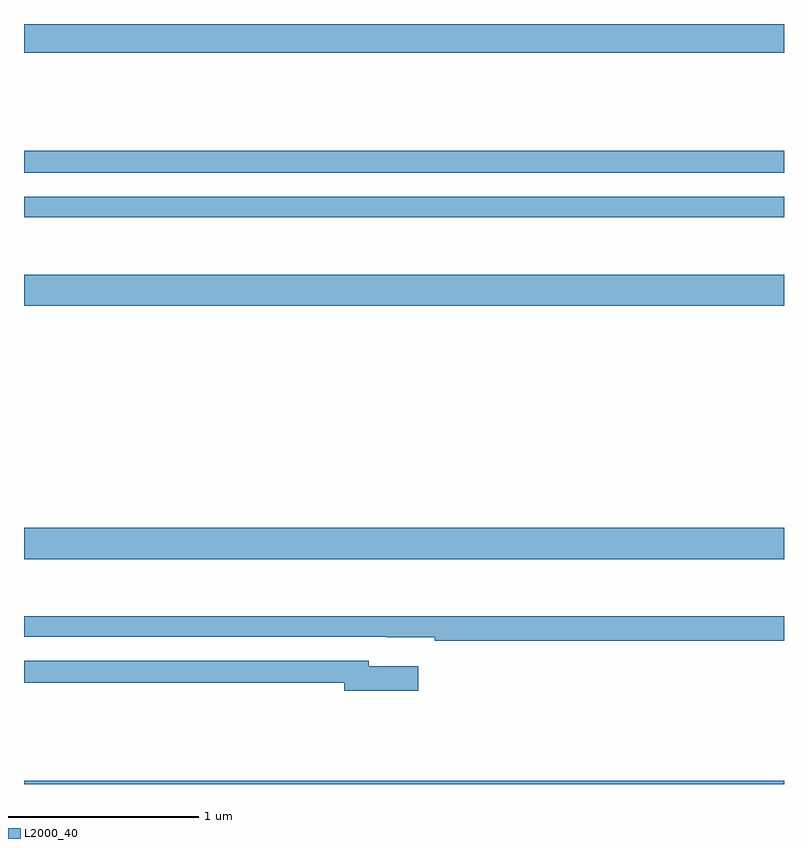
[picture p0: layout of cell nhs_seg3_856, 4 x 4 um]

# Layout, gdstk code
import gdstk
lib = gdstk.Library(unit=1e-6, precision=1e-09)
def R(c, l, rs):  # rectangles x0, y0, x1, y1
    for r in rs: c.add(gdstk.rectangle(r[:2], r[2:], *l))
def P(c, l, *ps):  # polygons
    for p in ps: c.add(gdstk.Polygon(p, *l))
L2000_40 = (2000, 40)

nhs_seg3_856 = lib.new_cell('nhs_seg3_856')
R(nhs_seg3_856, L2000_40, [(155,698.4,159,698.416), (155,699.584,159,699.748), (155,700.916,159,701.08), (155,701.382,159,701.49), (155,701.616,159,701.732), (155,702.248,159,702.4)])
P(nhs_seg3_856, L2000_40, [(159,699.283),(155,699.283),(155,699.174),(156.91,699.174),(156.91,699.173),(157.162,699.173),(157.162,699.154),(159,699.154)],
  [(157.075,699.019),(156.814,699.019),(156.814,699.048),(155,699.048),(155,698.932),(156.686,698.932),(156.686,698.89),(157.075,698.89)])

lib.write_gds('nhs_seg3_856.gds')
